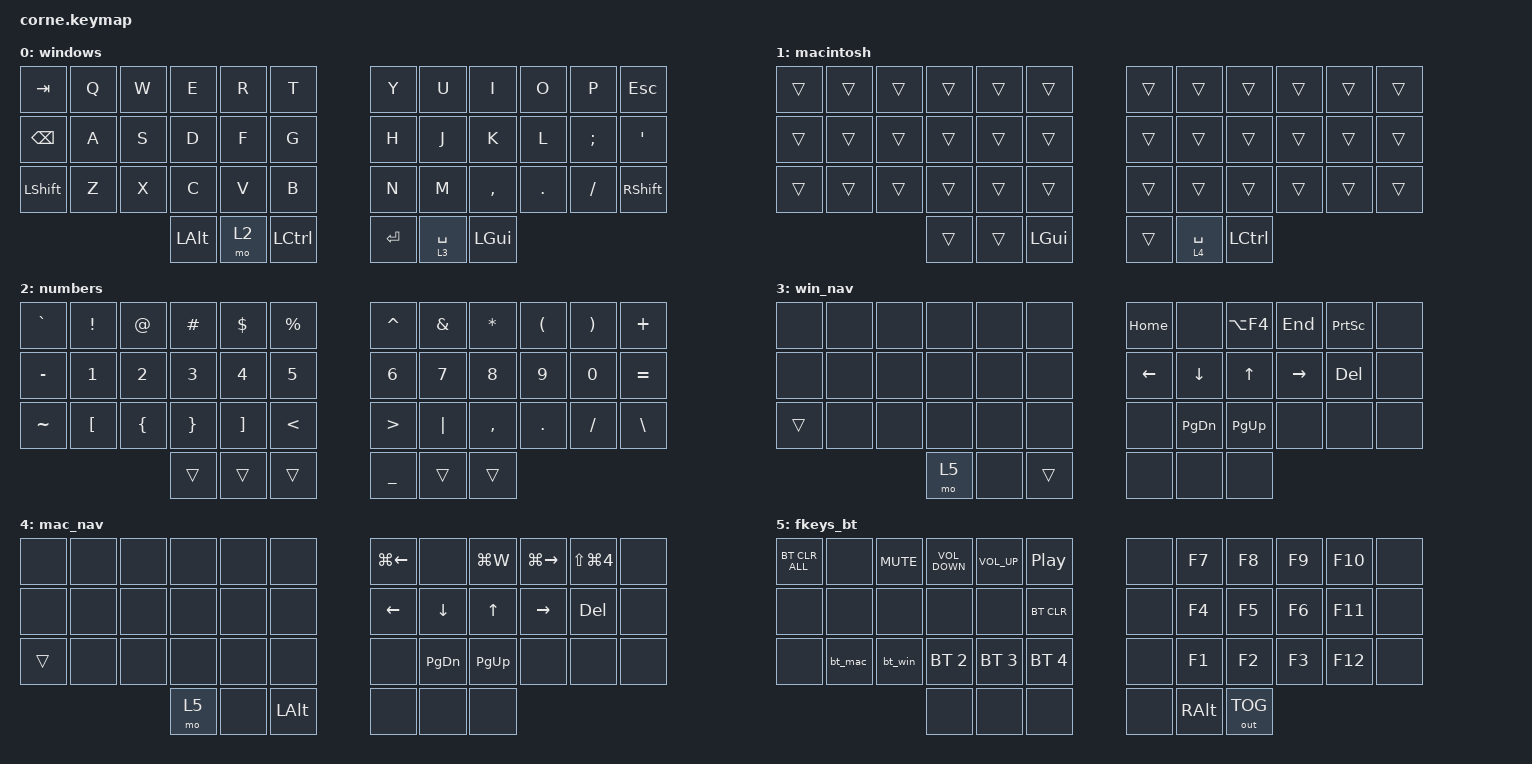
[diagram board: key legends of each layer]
/*
 * Copyright (c) 2020 The ZMK Contributors
 *
 * SPDX-License-Identifier: MIT
 */

#include <behaviors.dtsi>
#include <dt-bindings/zmk/bt.h>
#include <dt-bindings/zmk/keys.h>
#include <dt-bindings/zmk/outputs.h>

&lt { tapping-term-ms = <165>; };

&mt {
    tapping-term-ms = <165>;
    flavor = "tap-preferred";
};

/ {
    combos {
        compatible = "zmk,combos";

        fkey_bt_layer {
            bindings = <&mo 5>;
            key-positions = <3 37>;
        };
    };

    macros {
        bt_mac: bt_mac {
            compatible = "zmk,behavior-macro";
            #binding-cells = <0>;
            bindings = <&bt BT_SEL 0 &to 1>;
            label = "BT_MAC";
        };

        bt_win: bt_win {
            compatible = "zmk,behavior-macro";
            #binding-cells = <0>;
            bindings = <&bt BT_SEL 1 &to 0>;
            label = "BT_WIN";
        };
    };

    keymap {
        compatible = "zmk,keymap";

        windows {
            // -----------------------------------------------------------------------------------------
            // |  TAB |  Q  |  W  |  E  |  R  |  T  |   |  Y  |  U   |  I  |  O  |  P  | BSPC |
            // | CTRL |  A  |  S  |  D  |  F  |  G  |   |  H  |  J   |  K  |  L  |  ;  |  '   |
            // | SHFT |  Z  |  X  |  C  |  V  |  B  |   |  N  |  M   |  ,  |  .  |  /  | ESC  |
            //                    | GUI | LWR | SPC |   | ENT | RSE  | ALT |

            bindings = <
&kp TAB         &kp Q  &kp W  &kp E         &kp R  &kp T               &kp Y      &kp U        &kp I         &kp O    &kp P          &kp ESC
&kp BACKSPACE   &kp A  &kp S  &kp D         &kp F  &kp G               &kp H      &kp J        &kp K         &kp L    &kp SEMICOLON  &kp APOSTROPHE
&kp LEFT_SHIFT  &kp Z  &kp X  &kp C         &kp V  &kp B               &kp N      &kp M        &kp COMMA     &kp DOT  &kp SLASH      &kp RIGHT_SHIFT
                              &kp LEFT_ALT  &mo 2  &kp LEFT_CONTROL    &kp ENTER  &lt 3 SPACE  &kp LEFT_GUI
            >;

            label = "windows";
        };

        macintosh {
            bindings = <
&trans  &trans  &trans  &trans  &trans  &trans          &trans  &trans       &trans            &trans  &trans  &trans
&trans  &trans  &trans  &trans  &trans  &trans          &trans  &trans       &trans            &trans  &trans  &trans
&trans  &trans  &trans  &trans  &trans  &trans          &trans  &trans       &trans            &trans  &trans  &trans
                        &trans  &trans  &kp LEFT_GUI    &trans  &lt 4 SPACE  &kp LEFT_CONTROL
            >;

            label = "macintosh";
        };

        numbers {
            // -----------------------------------------------------------------------------------------
            // |  TAB |  1  |  2  |  3  |  4  |  5  |   |  6  |  7  |  8  |  9  |  0  | BSPC |
            // | BTCLR| BT1 | BT2 | BT3 | BT4 | BT5 |   | LFT | DWN |  UP | RGT |     |      |
            // | SHFT |     |     |     |     |     |   |     |     |     |     |     |      |
            //                    | GUI |     | SPC |   | ENT |     | ALT |

            bindings = <
&kp GRAVE  &kp EXCL          &kp AT          &kp POUND        &kp DOLLAR         &kp PERCENT      &kp CARET         &kp AMPERSAND  &kp ASTERISK  &kp LEFT_PARENTHESIS  &kp RIGHT_PARENTHESIS  &kp PLUS
&kp MINUS  &kp NUMBER_1      &kp NUMBER_2    &kp NUMBER_3     &kp NUMBER_4       &kp N5           &kp N6            &kp N7         &kp N8        &kp N9                &kp N0                 &kp EQUAL
&kp TILDE  &kp LEFT_BRACKET  &kp LEFT_BRACE  &kp RIGHT_BRACE  &kp RIGHT_BRACKET  &kp LESS_THAN    &kp GREATER_THAN  &kp PIPE       &kp COMMA     &kp PERIOD            &kp SLASH              &kp BACKSLASH
                                             &trans           &trans             &trans           &kp UNDERSCORE    &trans         &trans
            >;

            label = "numbers";
        };

        win_nav {
            // -----------------------------------------------------------------------------------------
            // |  TAB |  !  |  @  |  #  |  $  |  %  |   |  ^  |  &  |  *  |  (  |  )  | BSPC |
            // | CTRL |     |     |     |     |     |   |  -  |  =  |  [  |  ]  |  \  |  `   |
            // | SHFT |     |     |     |     |     |   |  _  |  +  |  {  |  }  | "|" |  ~   |
            //                    | GUI |     | SPC |   | ENT |     | ALT |

            bindings = <
&none   &none  &none  &none  &none  &none     &kp HOME        &none           &kp LA(F4)    &kp END          &kp PRINTSCREEN  &none
&none   &none  &none  &none  &none  &none     &kp LEFT_ARROW  &kp DOWN_ARROW  &kp UP_ARROW  &kp RIGHT_ARROW  &kp DELETE       &none
&trans  &none  &none  &none  &none  &none     &none           &kp PAGE_DOWN   &kp PAGE_UP   &none            &none            &none
                      &mo 5  &none  &trans    &none           &none           &none
            >;

            label = "win_nav";
        };

        mac_nav {
            bindings = <
&none   &none  &none  &none  &none  &none           &kp LG(LEFT_ARROW)  &none           &kp LG(W)     &kp LG(RIGHT_ARROW)  &kp LS(LG(NUMBER_4))  &none
&none   &none  &none  &none  &none  &none           &kp LEFT_ARROW      &kp DOWN_ARROW  &kp UP_ARROW  &kp RIGHT_ARROW      &kp DELETE            &none
&trans  &none  &none  &none  &none  &none           &none               &kp PAGE_DOWN   &kp PAGE_UP   &none                &none                 &none
                      &mo 5  &none  &kp LEFT_ALT    &none               &none           &none
            >;

            label = "mac_nav";
        };

        fkeys_bt {
            bindings = <
&bt BT_CLR_ALL  &none    &kp C_MUTE  &kp C_VOLUME_DOWN  &kp C_VOLUME_UP  &kp C_PLAY_PAUSE    &none  &kp F7    &kp F8        &kp F9  &kp F10  &none
&none           &none    &none       &none              &none            &bt BT_CLR          &none  &kp F4    &kp F5        &kp F6  &kp F11  &none
&none           &bt_mac  &bt_win     &bt BT_SEL 2       &bt BT_SEL 3     &bt BT_SEL 4        &none  &kp F1    &kp F2        &kp F3  &kp F12  &none
                                     &none              &none            &none               &none  &kp RALT  &out OUT_TOG
            >;

            label = "fkeys_bt";
        };
    };
};
